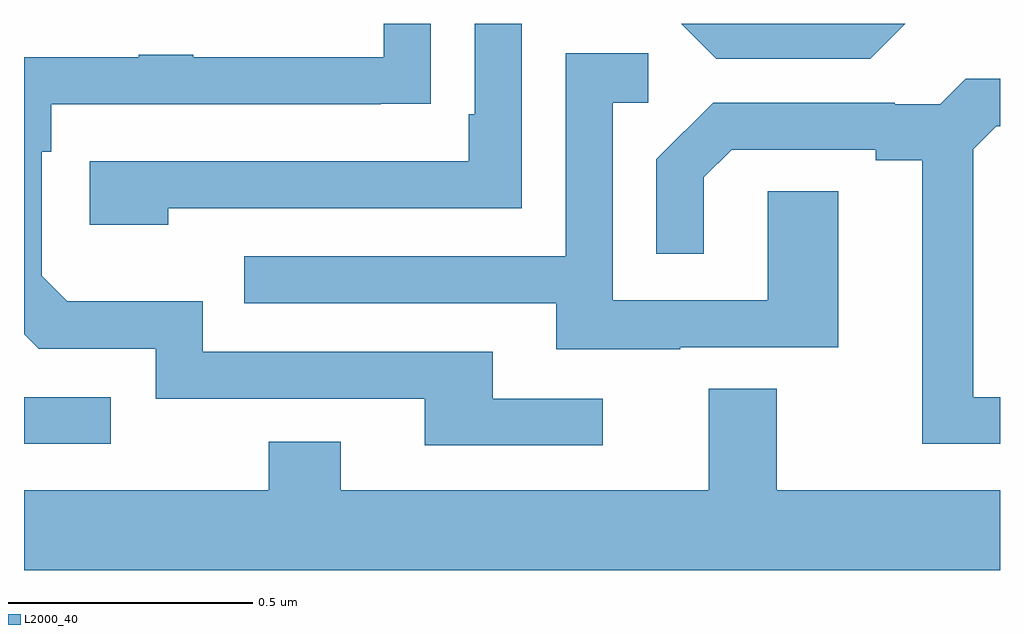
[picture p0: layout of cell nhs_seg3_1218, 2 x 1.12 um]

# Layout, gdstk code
import gdstk
lib = gdstk.Library(unit=1e-6, precision=1e-09)
def R(c, l, rs):  # rectangles x0, y0, x1, y1
    for r in rs: c.add(gdstk.rectangle(r[:2], r[2:], *l))
def P(c, l, *ps):  # polygons
    for p in ps: c.add(gdstk.Polygon(p, *l))
L2000_40 = (2000, 40)

nhs_seg3_1218 = lib.new_cell('nhs_seg3_1218')
R(nhs_seg3_1218, L2000_40, [(126,670.539,126.178,670.635)])
P(nhs_seg3_1218, L2000_40, [(126.296,671.022),(127.02,671.022),(127.02,671.4),(126.924,671.4),(126.924,671.215),(126.911,671.215),(126.911,671.118),(126.135,671.118),(126.135,670.988),(126.296,670.988)],
  [(127.806,671.4),(127.347,671.4),(127.419,671.328),(127.734,671.328)],
  [(127.186,670.632),(126.961,670.632),(126.961,670.728),(126.366,670.728),(126.366,670.831),(126.089,670.831),(126.036,670.884),(126.036,671.138),(126.056,671.138),(126.056,671.235),(126.731,671.235),(126.731,671.236),(126.833,671.236),(126.833,671.4),(126.737,671.4),(126.737,671.331),(126.347,671.331),(126.347,671.336),(126.235,671.336),(126.235,671.331),(126,671.331),(126,670.764),(126.03,670.734),(126.27,670.734),(126.27,670.632),(126.821,670.632),(126.821,670.536),(127.186,670.536)],
  [(127.345,670.737),(127.669,670.737),(127.669,671.057),(127.524,671.057),(127.524,670.833),(127.206,670.833),(127.206,671.238),(127.279,671.238),(127.279,671.339),(127.11,671.339),(127.11,670.923),(126.451,670.923),(126.451,670.827),(127.091,670.827),(127.091,670.733),(127.345,670.733)],
  [(128,670.635),(127.945,670.635),(127.945,671.143),(127.992,671.19),(128,671.19),(128,671.287),(127.93,671.287),(127.878,671.235),(127.784,671.235),(127.784,671.238),(127.412,671.238),(127.296,671.122),(127.296,670.929),(127.393,670.929),(127.393,671.085),(127.45,671.142),(127.745,671.142),(127.745,671.12),(127.841,671.12),(127.841,670.539),(128,670.539)],
  [(128,670.444),(127.543,670.444),(127.543,670.652),(127.403,670.652),(127.403,670.444),(126.649,670.444),(126.649,670.543),(126.502,670.543),(126.502,670.444),(126,670.444),(126,670.28),(128,670.28)])

lib.write_gds('nhs_seg3_1218.gds')
